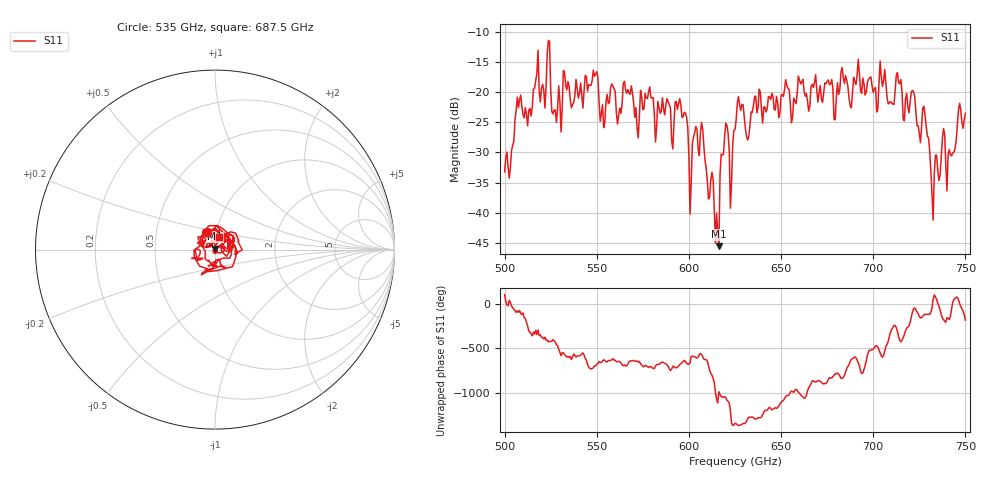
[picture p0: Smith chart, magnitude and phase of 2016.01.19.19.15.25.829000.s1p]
!Created with skrf (http://scikit-rf.org).
# GHz S RI R 50.0
!freq ReS11 ImS11
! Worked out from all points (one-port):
!   401 points, 500 GHz to 750 GHz, reference 50 ohm
!   lowest |S11| = -45.5 dB at 616.2 GHz (marker M1), VSWR 1.01, Z = 50 + j0.53 ohm
!   |S11| at or under -10 dB: start of sweep to end of sweep
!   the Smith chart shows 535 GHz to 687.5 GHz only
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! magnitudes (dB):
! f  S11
! 500 GHz  -33.2
! 516.9 GHz  -18.1
! 523.8 GHz  -11.5
! 526.9 GHz  -22.9
! 531.2 GHz  -22.5
! 549.4 GHz  -17.0
! 553.1 GHz  -22.1
! 558.8 GHz  -19.0
! 562.5 GHz  -22.6
! 565.6 GHz  -19.6
! 571.9 GHz  -26.0
! 593.8 GHz  -22.9
! 598.1 GHz  -23.5
! 600.6 GHz  -40.2
! 607.5 GHz  -26.2
! 615 GHz  -40.0
! 616.2 GHz  -45.5
! 619.4 GHz  -27.4
! 623.1 GHz  -35.1
! 625 GHz  -26.2
! 656.2 GHz  -24.1
! 660.6 GHz  -18.7
! 687.5 GHz  -22.3
! 705 GHz  -19.1
! 718.8 GHz  -22.4
! 728.1 GHz  -23.9
! 732.5 GHz  -41.2
! 750 GHz  -23.5
